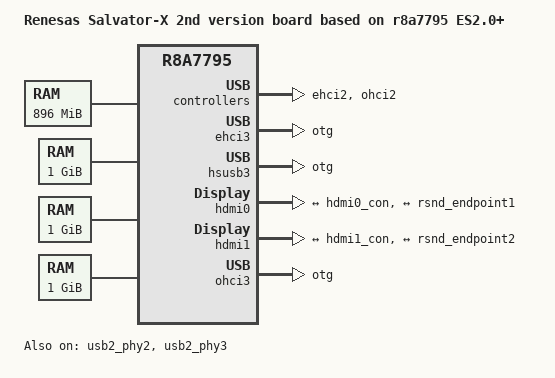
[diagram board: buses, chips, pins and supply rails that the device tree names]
/*
 * Device Tree Source for the Salvator-X 2nd version board with R-Car H3 ES2.0
 *
 * Copyright (C) 2015-2017 Renesas Electronics Corp.
 *
 * This file is licensed under the terms of the GNU General Public License
 * version 2.  This program is licensed "as is" without any warranty of any
 * kind, whether express or implied.
 */

/dts-v1/;
#include "r8a7795.dtsi"
#include "salvator-xs.dtsi"

/ {
	model = "Renesas Salvator-X 2nd version board based on r8a7795 ES2.0+";
	compatible = "renesas,salvator-xs", "renesas,r8a7795";

	memory@48000000 {
		device_type = "memory";
		/* first 128MB is reserved for secure area. */
		reg = <0x0 0x48000000 0x0 0x38000000>;
	};

	memory@500000000 {
		device_type = "memory";
		reg = <0x5 0x00000000 0x0 0x40000000>;
	};

	memory@600000000 {
		device_type = "memory";
		reg = <0x6 0x00000000 0x0 0x40000000>;
	};

	memory@700000000 {
		device_type = "memory";
		reg = <0x7 0x00000000 0x0 0x40000000>;
	};
};

&du {
	clocks = <&cpg CPG_MOD 724>,
		 <&cpg CPG_MOD 723>,
		 <&cpg CPG_MOD 722>,
		 <&cpg CPG_MOD 721>,
		 <&cpg CPG_MOD 727>,
		 <&versaclock6 1>,
		 <&x21_clk>,
		 <&x22_clk>,
		 <&versaclock6 2>;
	clock-names = "du.0", "du.1", "du.2", "du.3", "lvds.0",
		      "dclkin.0", "dclkin.1", "dclkin.2", "dclkin.3";
};

&ehci2 {
	status = "okay";
};

&ehci3 {
	dr_mode = "otg";
	status = "okay";
};

&hsusb3 {
	dr_mode = "otg";
	status = "okay";
};

&sound_card {
	dais = <&rsnd_port0	/* ak4613 */
		&rsnd_port1	/* HDMI0  */
		&rsnd_port2>;	/* HDMI1  */
};

&hdmi0 {
	status = "okay";

	ports {
		port@1 {
			reg = <1>;
			rcar_dw_hdmi0_out: endpoint {
				remote-endpoint = <&hdmi0_con>;
			};
		};
		port@2 {
			reg = <2>;
			dw_hdmi0_snd_in: endpoint {
				remote-endpoint = <&rsnd_endpoint1>;
			};
		};
	};
};

&hdmi0_con {
	remote-endpoint = <&rcar_dw_hdmi0_out>;
};

&hdmi1 {
	status = "okay";

	ports {
		port@1 {
			reg = <1>;
			rcar_dw_hdmi1_out: endpoint {
				remote-endpoint = <&hdmi1_con>;
			};
		};
		port@2 {
			reg = <2>;
			dw_hdmi1_snd_in: endpoint {
				remote-endpoint = <&rsnd_endpoint2>;
			};
		};
	};
};

&hdmi1_con {
	remote-endpoint = <&rcar_dw_hdmi1_out>;
};

&ohci2 {
	status = "okay";
};

&ohci3 {
	dr_mode = "otg";
	status = "okay";
};

&rcar_sound {
	ports {
		/* rsnd_port0 is on salvator-common */
		rsnd_port1: port@1 {
			rsnd_endpoint1: endpoint {
				remote-endpoint = <&dw_hdmi0_snd_in>;

				dai-format = "i2s";
				bitclock-master = <&rsnd_endpoint1>;
				frame-master = <&rsnd_endpoint1>;

				playback = <&ssi2>;
			};
		};
		rsnd_port2: port@2 {
			rsnd_endpoint2: endpoint {
				remote-endpoint = <&dw_hdmi1_snd_in>;

				dai-format = "i2s";
				bitclock-master = <&rsnd_endpoint2>;
				frame-master = <&rsnd_endpoint2>;

				playback = <&ssi3>;
			};
		};
	};
};

&pfc {
	usb2_pins: usb2 {
		groups = "usb2";
		function = "usb2";
	};

	/*
	 * - On Salvator-X[S], GP6_3[01] are connected to ADV7482 as irq pins
	 *   (when SW31 is the default setting on Salvator-XS).
	 * - If SW31 is the default setting, you cannot use USB2.0 ch3 on
	 *   r8a7795 with Salvator-XS.
	 *   Hence the SW31 setting must be changed like 2) below.
	 *   1) Default setting of SW31: ON-ON-OFF-OFF-OFF-OFF:
	 *	- Connect GP6_3[01] to ADV7842.
	 *   2) Changed setting of SW31: OFF-OFF-ON-ON-ON-ON:
	 *	- Connect GP6_3[01] to BD082065 (USB2.0 ch3's host power).
	 *	- Connect GP6_{04,21} to ADV7842.
	 */
	usb2_ch3_pins: usb2_ch3 {
		groups = "usb2_ch3";
		function = "usb2_ch3";
	};
};

&usb2_phy2 {
	pinctrl-0 = <&usb2_pins>;
	pinctrl-names = "default";

	status = "okay";
};

&usb2_phy3 {
	pinctrl-0 = <&usb2_ch3_pins>;
	pinctrl-names = "default";

	status = "okay";
};
